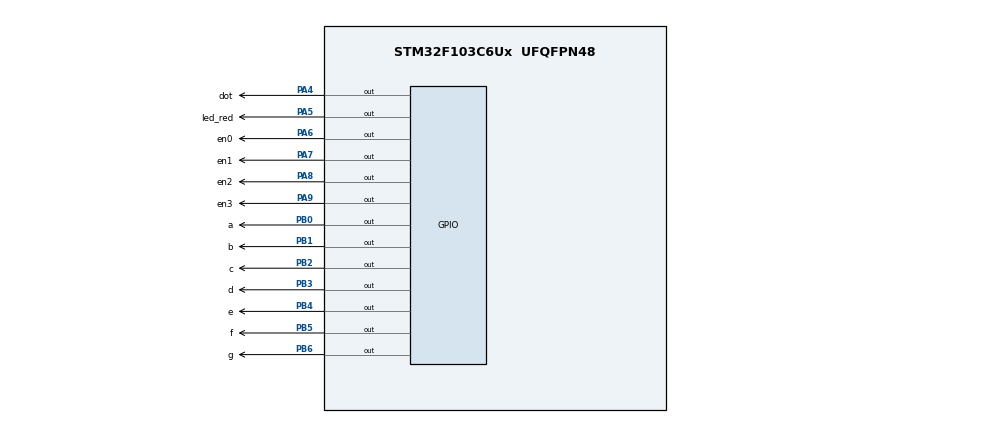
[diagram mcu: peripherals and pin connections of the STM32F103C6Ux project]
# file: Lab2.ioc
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Mcu.Family=STM32F1
Mcu.Name=STM32F103C6Ux
Mcu.Package=UFQFPN48
NVIC.PriorityGroup=NVIC_PRIORITYGROUP_4
NVIC.TIM2_IRQn=true\:0\:0\:false\:false\:true\:true\:true
PA4.GPIO_Label=dot
PA4.Signal=GPIO_Output
PA5.GPIO_Label=led_red
PA5.Signal=GPIO_Output
PA6.GPIO_Label=en0
PA6.Signal=GPIO_Output
PA7.GPIO_Label=en1
PA7.Signal=GPIO_Output
PA8.GPIO_Label=en2
PA8.Signal=GPIO_Output
PA9.GPIO_Label=en3
PA9.Signal=GPIO_Output
PB0.GPIO_Label=a
PB0.Signal=GPIO_Output
PB1.GPIO_Label=b
PB1.Signal=GPIO_Output
PB2.GPIO_Label=c
PB2.Signal=GPIO_Output
PB3.GPIO_Label=d
PB3.Signal=GPIO_Output
PB4.GPIO_Label=e
PB4.Signal=GPIO_Output
PB5.GPIO_Label=f
PB5.Signal=GPIO_Output
PB6.GPIO_Label=g
PB6.Signal=GPIO_Output
ProjectManager.HeapSize=0x200
ProjectManager.StackSize=0x400
ProjectManager.TargetToolchain=STM32CubeIDE
RCC.APB1Freq_Value=8000000
RCC.APB2Freq_Value=8000000
TIM2.Period=9
TIM2.Prescaler=7999
VP_SYS_VS_ND.Mode=No_Debug
VP_TIM2_VS_ClockSourceINT.Mode=Internal
board=custom

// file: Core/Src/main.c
/* USER CODE BEGIN Header */
/**
  ******************************************************************************
  * @file           : main.c
  * @brief          : Main program body
  ******************************************************************************
  * @attention
  *
  * <h2><center>&copy; Copyright (c) 2022 STMicroelectronics.
  * All rights reserved.</center></h2>
  *
  * This software component is licensed by ST under BSD 3-Clause license,
  * the "License"; You may not use this file except in compliance with the
  * License. You may obtain a copy of the License at:
  *                        opensource.org/licenses/BSD-3-Clause
  *
  ******************************************************************************
  */
/* USER CODE END Header */
#include "main.h"

/* USER CODE BEGIN Includes */
#include "timer.h"
/* USER CODE END Includes */

TIM_HandleTypeDef htim2;

/* USER CODE BEGIN PV */
const int MAX_LED = 4;
int index_led = 0;
int hour = 15, minute = 8, second = 50;
int led_buffer [4]={1, 2, 3, 4};
/* USER CODE END PV */

void SystemClock_Config(void);
static void MX_GPIO_Init(void);
static void MX_TIM2_Init(void);
/* USER CODE BEGIN PFP */
void display7SEG(int num);
void update7SEG ( int index );
void updateClockBuffer ();

/* USER CODE END PFP */

/* USER CODE BEGIN 0 */
int timer0_counter = 0;
int timer0_flag = 0;
int TIMER_CYCLE = 10;
void setTimer0 ( int duration ){
timer0_counter = duration / TIMER_CYCLE ;
timer0_flag = 0;
}
void timer_run(){
if( timer0_counter > 0){
timer0_counter --;
if( timer0_counter == 0) timer0_flag = 1;
}
}
/* USER CODE END 0 */

int main(void)
{

  /* MCU Configuration--------------------------------------------------------*/

  /* Reset of all peripherals, Initializes the Flash interface and the Systick. */
  HAL_Init();

  /* Configure the system clock */
  SystemClock_Config();

  /* Initialize all configured peripherals */
  MX_GPIO_Init();
  MX_TIM2_Init();
  /* USER CODE BEGIN 2 */
  HAL_TIM_Base_Start_IT(&htim2);
  /* USER CODE END 2 */

  /* Infinite loop */
  /* USER CODE BEGIN WHILE */
  setTimer0(1000);
  while (1)
  {
	  if( timer0_flag == 1){
	  HAL_GPIO_TogglePin ( led_red_GPIO_Port , led_red_Pin );
	  setTimer0 (2000) ;
	  }

    /* USER CODE END WHILE */

  }
}

void SystemClock_Config(void)
{
  RCC_OscInitTypeDef RCC_OscInitStruct = {0};
  RCC_ClkInitTypeDef RCC_ClkInitStruct = {0};

  /** Initializes the RCC Oscillators according to the specified parameters
  * in the RCC_OscInitTypeDef structure.
  */
  RCC_OscInitStruct.OscillatorType = RCC_OSCILLATORTYPE_HSI;
  RCC_OscInitStruct.HSIState = RCC_HSI_ON;
  RCC_OscInitStruct.HSICalibrationValue = RCC_HSICALIBRATION_DEFAULT;
  RCC_OscInitStruct.PLL.PLLState = RCC_PLL_NONE;
  if (HAL_RCC_OscConfig(&RCC_OscInitStruct) != HAL_OK)
  {
    Error_Handler();
  }
  /** Initializes the CPU, AHB and APB buses clocks
  */
  RCC_ClkInitStruct.ClockType = RCC_CLOCKTYPE_HCLK|RCC_CLOCKTYPE_SYSCLK
                              |RCC_CLOCKTYPE_PCLK1|RCC_CLOCKTYPE_PCLK2;
  RCC_ClkInitStruct.SYSCLKSource = RCC_SYSCLKSOURCE_HSI;
  RCC_ClkInitStruct.AHBCLKDivider = RCC_SYSCLK_DIV1;
  RCC_ClkInitStruct.APB1CLKDivider = RCC_HCLK_DIV1;
  RCC_ClkInitStruct.APB2CLKDivider = RCC_HCLK_DIV1;

  if (HAL_RCC_ClockConfig(&RCC_ClkInitStruct, FLASH_LATENCY_0) != HAL_OK)
  {
    Error_Handler();
  }
}

static void MX_TIM2_Init(void)
{

  TIM_ClockConfigTypeDef sClockSourceConfig = {0};
  TIM_MasterConfigTypeDef sMasterConfig = {0};

  htim2.Instance = TIM2;
  htim2.Init.Prescaler = 7999;
  htim2.Init.CounterMode = TIM_COUNTERMODE_UP;
  htim2.Init.Period = 9;
  htim2.Init.ClockDivision = TIM_CLOCKDIVISION_DIV1;
  htim2.Init.AutoReloadPreload = TIM_AUTORELOAD_PRELOAD_DISABLE;
  if (HAL_TIM_Base_Init(&htim2) != HAL_OK)
  {
    Error_Handler();
  }
  sClockSourceConfig.ClockSource = TIM_CLOCKSOURCE_INTERNAL;
  if (HAL_TIM_ConfigClockSource(&htim2, &sClockSourceConfig) != HAL_OK)
  {
    Error_Handler();
  }
  sMasterConfig.MasterOutputTrigger = TIM_TRGO_RESET;
  sMasterConfig.MasterSlaveMode = TIM_MASTERSLAVEMODE_DISABLE;
  if (HAL_TIMEx_MasterConfigSynchronization(&htim2, &sMasterConfig) != HAL_OK)
  {
    Error_Handler();
  }

}

static void MX_GPIO_Init(void)
{
  GPIO_InitTypeDef GPIO_InitStruct = {0};

  /* GPIO Ports Clock Enable */
  __HAL_RCC_GPIOA_CLK_ENABLE();
  __HAL_RCC_GPIOB_CLK_ENABLE();

  /*Configure GPIO pin Output Level */
  HAL_GPIO_WritePin(GPIOA, dot_Pin|led_red_Pin|en0_Pin|en1_Pin
                          |en2_Pin|en3_Pin, GPIO_PIN_RESET);

  /*Configure GPIO pin Output Level */
  HAL_GPIO_WritePin(GPIOB, a_Pin|b_Pin|c_Pin|d_Pin
                          |e_Pin|f_Pin|g_Pin, GPIO_PIN_RESET);

  /*Configure GPIO pins : dot_Pin led_red_Pin en0_Pin en1_Pin
                           en2_Pin en3_Pin */
  GPIO_InitStruct.Pin = dot_Pin|led_red_Pin|en0_Pin|en1_Pin
                          |en2_Pin|en3_Pin;
  GPIO_InitStruct.Mode = GPIO_MODE_OUTPUT_PP;
  GPIO_InitStruct.Pull = GPIO_NOPULL;
  GPIO_InitStruct.Speed = GPIO_SPEED_FREQ_LOW;
  HAL_GPIO_Init(GPIOA, &GPIO_InitStruct);

  /*Configure GPIO pins : a_Pin b_Pin c_Pin d_Pin
                           e_Pin f_Pin g_Pin */
  GPIO_InitStruct.Pin = a_Pin|b_Pin|c_Pin|d_Pin
                          |e_Pin|f_Pin|g_Pin;
  GPIO_InitStruct.Mode = GPIO_MODE_OUTPUT_PP;
  GPIO_InitStruct.Pull = GPIO_NOPULL;
  GPIO_InitStruct.Speed = GPIO_SPEED_FREQ_LOW;
  HAL_GPIO_Init(GPIOB, &GPIO_InitStruct);

}

/* USER CODE BEGIN 4 */
void updateClockBuffer ()
{
	if (hour>=10)
	{
		led_buffer[0]=1; led_buffer[1]=hour%10;
	}
	else {
		led_buffer[0]=0; led_buffer[1]=hour;
	}

	if (minute>=10)
		{
			led_buffer[2]=minute/10; led_buffer[3]=minute%10;
		}
		else {
			led_buffer[2]=0; led_buffer[3]=minute;
		}
}

void HAL_TIM_PeriodElapsedCallback(TIM_HandleTypeDef *htim)
{
	timer_run();
}

void display7SEG(int num)
{
	switch(num)
	{
	case 0:
		HAL_GPIO_WritePin(GPIOB, a_Pin|b_Pin|c_Pin|d_Pin|e_Pin|f_Pin, GPIO_PIN_RESET);
		HAL_GPIO_WritePin(GPIOB, g_Pin, GPIO_PIN_SET);
		break;
	case 1:
		HAL_GPIO_WritePin(GPIOB, a_Pin|d_Pin|e_Pin|f_Pin|g_Pin, GPIO_PIN_SET);
		HAL_GPIO_WritePin(GPIOB, b_Pin|c_Pin, GPIO_PIN_RESET);
		break;
	case 2:
		HAL_GPIO_WritePin(GPIOB, a_Pin|d_Pin|e_Pin|b_Pin|g_Pin, GPIO_PIN_RESET);
		HAL_GPIO_WritePin(GPIOB, f_Pin|c_Pin, GPIO_PIN_SET);
		break;
	case 3:
		HAL_GPIO_WritePin(GPIOB, a_Pin|d_Pin|c_Pin|b_Pin|g_Pin, GPIO_PIN_RESET);
		HAL_GPIO_WritePin(GPIOB, f_Pin|e_Pin, GPIO_PIN_SET);
		break;
	case 4:
		HAL_GPIO_WritePin(GPIOB, b_Pin|c_Pin|f_Pin|g_Pin, GPIO_PIN_RESET);
		HAL_GPIO_WritePin(GPIOB, a_Pin|e_Pin|d_Pin, GPIO_PIN_SET);
		break;
	case 5:
		HAL_GPIO_WritePin(GPIOB, a_Pin|c_Pin|d_Pin|f_Pin|g_Pin, GPIO_PIN_RESET);
		HAL_GPIO_WritePin(GPIOB, b_Pin|e_Pin, GPIO_PIN_SET);
		break;
	case 6:
		HAL_GPIO_WritePin(GPIOB, a_Pin|c_Pin|d_Pin|e_Pin|f_Pin|g_Pin, GPIO_PIN_RESET);
		HAL_GPIO_WritePin(GPIOB, b_Pin, GPIO_PIN_SET);
		break;
	case 7:
		HAL_GPIO_WritePin(GPIOB, a_Pin|b_Pin|c_Pin, GPIO_PIN_RESET);
		HAL_GPIO_WritePin(GPIOB, f_Pin|d_Pin|e_Pin|g_Pin, GPIO_PIN_SET);
		break;
	case 8:
		HAL_GPIO_WritePin(GPIOB, a_Pin|b_Pin|c_Pin|f_Pin|d_Pin|e_Pin|g_Pin, GPIO_PIN_RESET);
		break;
	case 9:
		HAL_GPIO_WritePin(GPIOB, a_Pin|b_Pin|c_Pin|f_Pin|d_Pin|g_Pin, GPIO_PIN_RESET);
		HAL_GPIO_WritePin(GPIOB, e_Pin, GPIO_PIN_SET);
		break;
	default: break;
	}
}

void update7SEG ( int index ){
switch ( index ){
case 0:
	display7SEG(led_buffer[index]);
break ;
case 1:
	display7SEG(led_buffer[index]);
break ;
case 2:
	display7SEG(led_buffer[index]);
break ;
case 3:
	display7SEG(led_buffer[index]);
break ;
default :
break ;
}
}

/* USER CODE END 4 */

void Error_Handler(void)
{
  __disable_irq();
  while (1)
  {
  }
}

/************************ (C) COPYRIGHT STMicroelectronics *****END OF FILE****/
